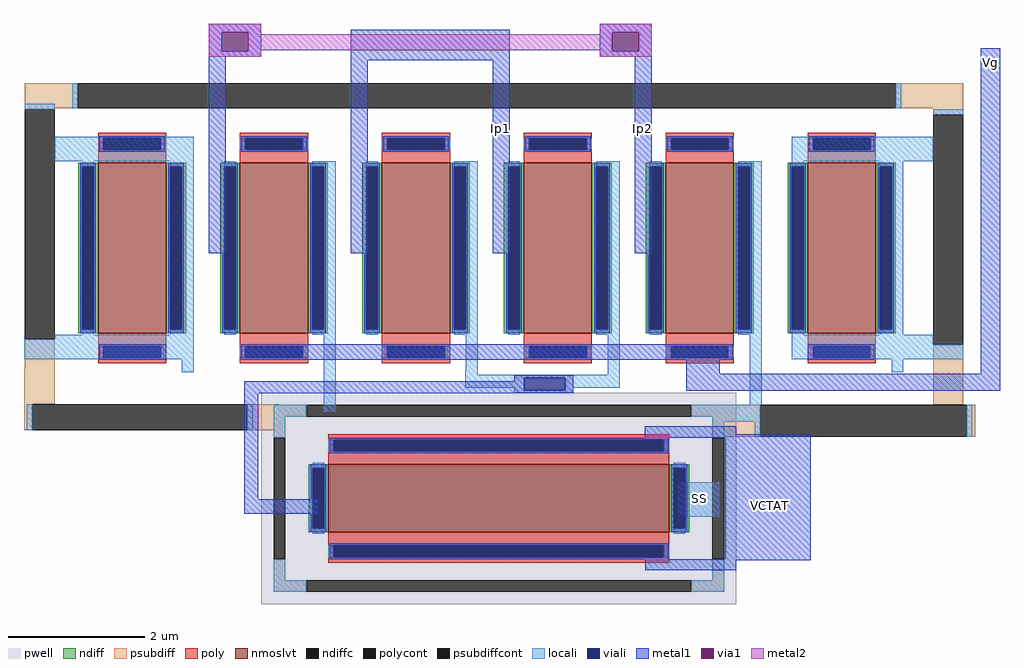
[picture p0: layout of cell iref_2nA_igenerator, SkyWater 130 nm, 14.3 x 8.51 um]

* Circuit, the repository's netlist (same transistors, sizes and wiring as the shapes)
* NGSPICE file created from iref_2nA_igenerator.ext - technology: sky130A


* Top level circuit iref_2nA_igenerator

X0 SS Vg Ip2 SS sky130_fd_pr__nfet_01v8_lvt ad=0.725 pd=5.58 as=0.725 ps=5.58 w=2.5 l=1
X1 SS Vg Ip2 SS sky130_fd_pr__nfet_01v8_lvt ad=0.725 pd=5.58 as=0.725 ps=5.58 w=2.5 l=1
X2 SS SS SS SS sky130_fd_pr__nfet_01v8_lvt ad=4.64 pd=36.1 as=0.725 ps=5.58 w=2.5 l=1
X3 a_4603_n2846# Vg Ip1 SS sky130_fd_pr__nfet_01v8_lvt ad=0.725 pd=5.58 as=0.725 ps=5.58 w=2.5 l=1
X4 SS SS SS SS sky130_fd_pr__nfet_01v8_lvt ad=0.725 pd=5.58 as=0 ps=0 w=2.5 l=1
X5 SS VCTAT a_4603_n2846# SS sky130_fd_pr__nfet_01v8_lvt ad=0.29 pd=2.58 as=0.29 ps=2.58 w=1 l=5
X6 a_4603_n2846# Vg Ip1 SS sky130_fd_pr__nfet_01v8_lvt ad=0.725 pd=5.58 as=0.725 ps=5.58 w=2.5 l=1
.end

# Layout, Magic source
magic
tech sky130A
magscale 1 2
<< psubdiff >>
rect 3771 -1602 3926 -1529
rect 6324 -1602 6523 -1529
rect 3771 -1605 3859 -1602
rect 3771 -2368 3859 -2280
rect 3769 -2470 3859 -2368
rect 6435 -1621 6523 -1602
rect 3769 -2546 3793 -2470
rect 4423 -2546 4516 -2470
rect 6435 -2472 6523 -2296
rect 5815 -2566 5927 -2472
rect 6533 -2566 6557 -2472
<< psubdiffcont >>
rect 3926 -1602 6324 -1529
rect 3771 -2280 3859 -1605
rect 6435 -2296 6523 -1621
rect 3793 -2546 4423 -2470
rect 5927 -2566 6533 -2472
<< locali >>
rect 3771 -1605 3859 -1589
rect 3910 -1602 3926 -1529
rect 6324 -1602 6340 -1529
rect 3770 -2280 3771 -2266
rect 6435 -1621 6523 -1605
rect 3859 -1758 4267 -1686
rect 6020 -1758 6435 -1686
rect 4232 -2266 4267 -1758
rect 3859 -2280 4267 -2266
rect 3770 -2338 4267 -2280
rect 4232 -2376 4267 -2338
rect 3777 -2546 3793 -2470
rect 4423 -2546 4439 -2470
rect 4648 -2492 4683 -1758
rect 5064 -2371 5099 -1758
rect 5063 -2383 5099 -2371
rect 5480 -2383 5515 -1758
rect 5063 -2392 5515 -2383
rect 5063 -2421 5236 -2392
rect 5206 -2429 5236 -2421
rect 5356 -2421 5515 -2392
rect 5356 -2429 5379 -2421
rect 5206 -2436 5379 -2429
rect 5896 -2472 5931 -1758
rect 6312 -2266 6347 -1758
rect 6020 -2296 6435 -2266
rect 6020 -2338 6523 -2296
rect 6312 -2376 6347 -2338
rect 5811 -2521 5927 -2472
rect 5911 -2566 5927 -2521
rect 6533 -2566 6549 -2472
rect 5684 -2800 5807 -2699
<< viali >>
rect 5236 -2429 5356 -2392
<< metal1 >>
rect 4311 -1379 4464 -1355
rect 4311 -1435 4349 -1379
rect 4426 -1435 4464 -1379
rect 4311 -1452 4464 -1435
rect 4311 -2028 4361 -1452
rect 4727 -1461 5193 -1372
rect 5456 -1379 5609 -1355
rect 5456 -1435 5494 -1379
rect 5571 -1435 5609 -1379
rect 5456 -1452 5609 -1435
rect 4727 -2028 4777 -1461
rect 5143 -2028 5193 -1461
rect 5559 -2028 5609 -1452
rect 3990 -2340 4186 -2294
rect 4406 -2340 5846 -2294
rect 6066 -2340 6262 -2294
rect 5710 -2381 5809 -2340
rect 6574 -2381 6630 -1427
rect 5206 -2392 5379 -2385
rect 5206 -2402 5236 -2392
rect 4415 -2429 5236 -2402
rect 5356 -2429 5379 -2392
rect 4415 -2436 5379 -2429
rect 5710 -2431 6630 -2381
rect 4415 -2438 5333 -2436
rect 4415 -2749 4455 -2438
rect 5588 -2558 5857 -2535
rect 5588 -2568 6075 -2558
rect 4415 -2791 4630 -2749
rect 5825 -2924 6075 -2568
rect 5590 -2927 6075 -2924
rect 5590 -2957 5857 -2927
<< via1 >>
rect 4349 -1435 4426 -1379
rect 5494 -1435 5571 -1379
<< metal2 >>
rect 4311 -1379 4464 -1355
rect 4311 -1435 4349 -1379
rect 4426 -1386 4464 -1379
rect 5456 -1379 5609 -1355
rect 5456 -1386 5494 -1379
rect 4426 -1433 5494 -1386
rect 4426 -1435 4464 -1433
rect 4311 -1452 4464 -1435
rect 5456 -1435 5494 -1433
rect 5571 -1435 5609 -1379
rect 5456 -1452 5609 -1435
use sky130_fd_pr__nfet_01v8_lvt_4HNDKD  sky130_fd_pr__nfet_01v8_lvt_4HNDKD_0
transform 1 0 5161 0 1 -2746
box -696 -310 696 310
use sky130_fd_pr__nfet_01v8_lvt_C9VRMX  sky130_fd_pr__nfet_01v8_lvt_C9VRMX_0
transform 1 0 4502 0 1 -2012
box -158 -338 158 338
use sky130_fd_pr__nfet_01v8_lvt_C9VRMX  sky130_fd_pr__nfet_01v8_lvt_C9VRMX_1
transform 1 0 4086 0 1 -2012
box -158 -338 158 338
use sky130_fd_pr__nfet_01v8_lvt_C9VRMX  sky130_fd_pr__nfet_01v8_lvt_C9VRMX_3
transform 1 0 5334 0 1 -2012
box -158 -338 158 338
use sky130_fd_pr__nfet_01v8_lvt_C9VRMX  sky130_fd_pr__nfet_01v8_lvt_C9VRMX_4
transform 1 0 4918 0 1 -2012
box -158 -338 158 338
use sky130_fd_pr__nfet_01v8_lvt_C9VRMX  sky130_fd_pr__nfet_01v8_lvt_C9VRMX_6
transform 1 0 5750 0 1 -2012
box -158 -338 158 338
use sky130_fd_pr__nfet_01v8_lvt_C9VRMX  sky130_fd_pr__nfet_01v8_lvt_C9VRMX_7
transform 1 0 6166 0 1 -2012
box -158 -338 158 338
<< labels >>
rlabel metal1 6580 -1498 6622 -1440 3 Vg
rlabel metal1 5146 -1690 5188 -1632 3 Ip1
rlabel metal1 5560 -1690 5602 -1632 3 Ip2
rlabel locali 5728 -2776 5770 -2718 3 SS
rlabel metal1 5932 -2796 5974 -2738 3 VCTAT
<< end >>

# cell sky130_fd_pr__nfet_01v8_lvt_4HNDKD: kit device sky130_fd_pr__nfet_01v8_lvt, w 1 l 5 m 1 nf 1 diffcov 100 polycov 100 guard 1 glc 1 grc 1 gtc 1 gbc 1 tbcov 100 rlcov 100 topc 1 botc 1 poverlap 0 doverlap 1 lmin 0.15 wmin 0.42 compatible {sky130_fd_pr__nfet_01v8 sky130_fd_pr__nfet_01v8_lvt sky130_fd_bs_flash__special_sonosfet_star sky130_fd_pr__nfet_g5v0d10v5 sky130_fd_pr__nfet_05v0_nvt sky130_fd_pr__nfet_03v3_nvt} full_metal 1 viasrc 100 viadrn 100 viagate 100 viagb 0 viagr 0 viagl 0 viagt 0

# cell sky130_fd_pr__nfet_01v8_lvt_C9VRMX: kit device sky130_fd_pr__nfet_01v8_lvt, w 2.5 l 1 m 1 nf 1 diffcov 100 polycov 100 guard 0 glc 0 grc 0 gtc 0 gbc 0 tbcov 100 rlcov 100 topc 1 botc 1 poverlap 0 doverlap 1 lmin 0.15 wmin 0.42 compatible {sky130_fd_pr__nfet_01v8 sky130_fd_pr__nfet_01v8_lvt sky130_fd_bs_flash__special_sonosfet_star sky130_fd_pr__nfet_g5v0d10v5 sky130_fd_pr__nfet_05v0_nvt sky130_fd_pr__nfet_03v3_nvt} full_metal 0 viasrc 100 viadrn 100 viagate 100 viagb 0 viagr 0 viagl 0 viagt 0
